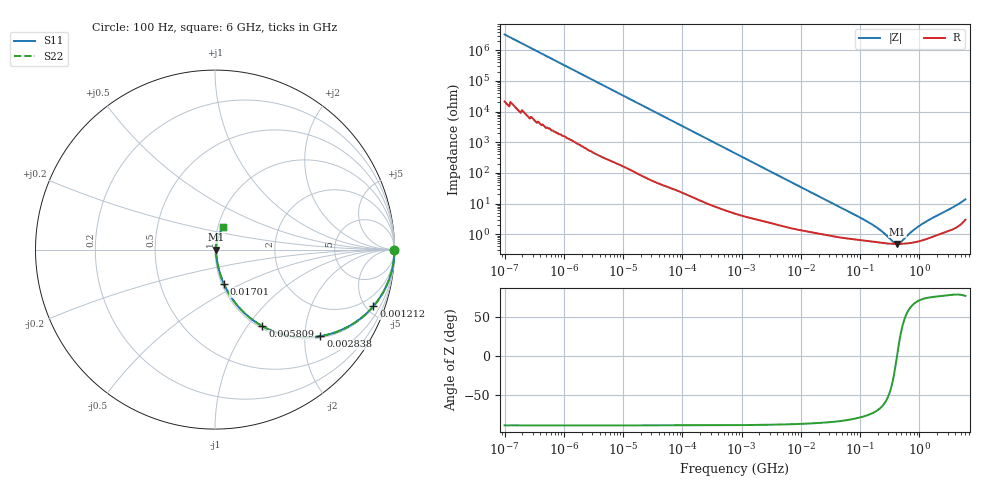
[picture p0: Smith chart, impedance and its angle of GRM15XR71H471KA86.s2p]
!Murata Part Number: GRM15XR71H471KA86
!These Parameters are Measured in Series Mode Connection
!Data Generated on Mar 30, 2021
!  o--ll--o
!Port1  Port2
!  o------o
!Operation Temp=25[degC], DC Bias Voltage=0[V]
!Freq. Start=100[Hz] Stop=6[GHz] 401[Steps]
# Hz S RI R 50
!Freq.(Hz) S11(Real) S11(Imag) S21(Real) S21(Imag) S12(Real) S12(Imag) S22(Real) S22(Imag)
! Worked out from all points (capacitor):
!   401 points, 100 Hz to 6 GHz, reference 50 ohm
!   read as one part in series: C = 486 pF near 109 Hz
!   lowest |Z| = 485 mohm at 427.4 MHz (marker M1)
!   series resonance near 421.4 MHz, so ESL is about 290 pH
!   S11 on the Smith chart (normalised r, x): 100 Hz: open; 1.212 MHz: 1.07, -5.57; 2.838 MHz: 1.05, -2.40; 5.809 MHz: 1.03, -1.18; 17.01 MHz: 1.02, -0.41; 6 GHz: 1.06, +0.27
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100  1 -3.06e-05  2e-07 3.06e-05  2e-07 3.06e-05  1 -3.06e-05
335  1 -0.000102  5e-07 0.000102  5e-07 0.000102  1 -0.000102
2008  1 -0.000608  3.1e-06 0.000608  3.1e-06 0.000608  1 -0.000608
40335  0.9998 -0.0121  0.000212 0.0121  0.000212 0.0121  0.9998 -0.0121
241822  0.9943 -0.0717  0.00572 0.0717  0.00572 0.0717  0.9943 -0.0717
774597  0.9477 -0.2173  0.0523 0.2173  0.0523 0.2173  0.9477 -0.2173
1212075  0.8827 -0.3153  0.1173 0.3153  0.1173 0.3153  0.8827 -0.3153
2837864  0.5877 -0.4822  0.4123 0.4822  0.4123 0.4822  0.5877 -0.4822
5809218  0.264 -0.4267  0.736 0.4267  0.736 0.4267  0.264 -0.4267
9090158  0.1345 -0.3232  0.8655 0.3232  0.8655 0.3232  0.1345 -0.3232
1.555665e7  0.0572 -0.2079  0.9428 0.2079  0.9428 0.2079  0.0572 -0.2079
1.701401e7  0.0498 -0.1919  0.9502 0.1919  0.9502 0.1919  0.0498 -0.1919
4.165952e7  0.0149 -0.0825  0.9851 0.0825  0.9851 0.0825  0.0149 -0.0825
1.395531e8  0.00645 -0.0234  0.9935 0.0234  0.9935 0.0234  0.00645 -0.0234
2.183701e8  0.00541 -0.0126  0.9946 0.0126  0.9946 0.0126  0.00541 -0.0126
3.124326e8  0.00494 -0.00551  0.9951 0.00551  0.9951 0.00551  0.00494 -0.00551
3.737127e8  0.00483 -0.00219  0.9952 0.00219  0.9952 0.00219  0.00483 -0.00219
4.274388e8  0.00481 0.000265  0.9952 -0.000265  0.9952 -0.000265  0.00481 0.000265
4.888888e8  0.00485 0.00273  0.9951 -0.00273  0.9951 -0.00273  0.00485 0.00273
7.31507e8  0.00532 0.0106  0.9947 -0.0106  0.9947 -0.0106  0.00532 0.0106
1.094528e9  0.00656 0.0199  0.9934 -0.0199  0.9934 -0.0199  0.00656 0.0199
6e9  0.0451 0.124  0.9549 -0.124  0.9549 -0.124  0.0451 0.124
